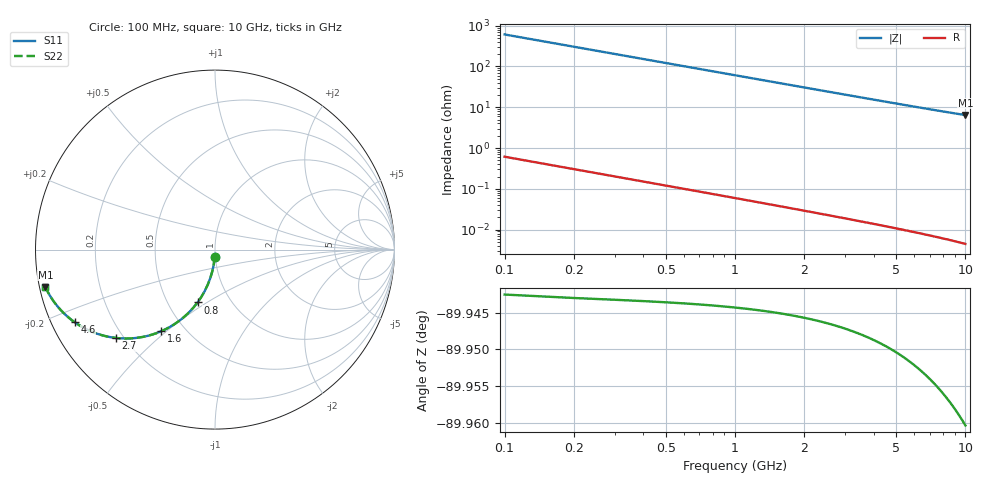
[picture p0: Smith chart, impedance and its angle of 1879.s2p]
# Hz S RI R 50.00
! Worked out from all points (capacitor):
!   100 points, 100 MHz to 10 GHz, reference 50 ohm
!   read as one part in shunt: C = 2.61 pF near 100 MHz
!   lowest |Z| = 6.43 ohm at 10 GHz (marker M1)
!   S11 on the Smith chart (normalised r, x): 100 MHz: 0.99, -0.08; 800 MHz: 0.70, -0.46; 1.6 GHz: 0.37, -0.48; 2.7 GHz: 0.17, -0.37; 4.6 GHz: 0.07, -0.24; 10 GHz: 0.02, -0.11
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1e8  -0.00164 -0.0408  0.9982 -0.0411  0.9982 -0.0411  -0.00164 -0.0408
2e8  -0.00668 -0.0811  0.9932 -0.0818  0.9932 -0.0818  -0.00668 -0.0811
3e8  -0.0149 -0.1206  0.9849 -0.1216  0.9849 -0.1216  -0.0149 -0.1206
4e8  -0.0263 -0.159  0.9736 -0.1603  0.9736 -0.1603  -0.0263 -0.159
5e8  -0.0404 -0.1958  0.9594 -0.1975  0.9594 -0.1975  -0.0404 -0.1958
6e8  -0.0572 -0.2309  0.9426 -0.2329  0.9426 -0.2329  -0.0572 -0.2309
8e8  -0.0973 -0.2946  0.9025 -0.2973  0.9025 -0.2973  -0.0973 -0.2946
1e9  -0.1441 -0.3491  0.8557 -0.3525  0.8557 -0.3525  -0.1441 -0.3491
1.2e9  -0.1951 -0.3938  0.8047 -0.3978  0.8047 -0.3978  -0.1951 -0.3938
1.4e9  -0.248 -0.4291  0.7518 -0.4338  0.7518 -0.4338  -0.248 -0.4291
1.6e9  -0.3011 -0.4556  0.6988 -0.4609  0.6988 -0.4609  -0.3011 -0.4556
1.8e9  -0.3528 -0.4743  0.647 -0.4804  0.647 -0.4804  -0.3528 -0.4743
2.2e9  -0.4488 -0.4932  0.551 -0.5006  0.551 -0.5006  -0.4488 -0.4932
2.7e9  -0.5509 -0.4923  0.4489 -0.5014  0.4489 -0.5014  -0.5509 -0.4923
3.4e9  -0.6606 -0.4672  0.3392 -0.4787  0.3392 -0.4787  -0.6606 -0.4672
4e9  -0.7295 -0.4369  0.2703 -0.4504  0.2703 -0.4504  -0.7295 -0.4369
4.6e9  -0.7812 -0.405  0.2185 -0.4207  0.2185 -0.4207  -0.7812 -0.405
5.1e9  -0.8146 -0.3793  0.1851 -0.3967  0.1851 -0.3967  -0.8146 -0.3793
5.8e9  -0.8506 -0.3459  0.149 -0.3657  0.149 -0.3657  -0.8506 -0.3459
6.7e9  -0.884 -0.3079  0.1156 -0.331  0.1156 -0.331  -0.884 -0.3079
8.4e9  -0.9234 -0.2503  0.076 -0.2795  0.076 -0.2795  -0.9234 -0.2503
1e10  -0.9451 -0.2088  0.0541 -0.244  0.0541 -0.244  -0.9451 -0.2088
